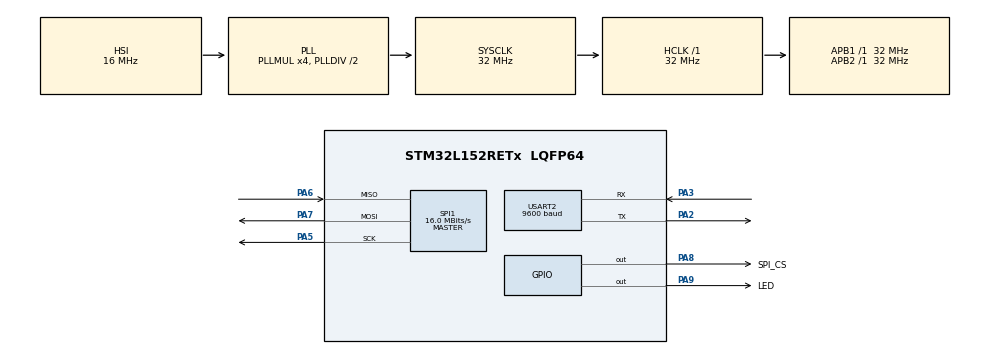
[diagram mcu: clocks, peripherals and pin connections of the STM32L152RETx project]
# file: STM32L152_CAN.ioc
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Mcu.Family=STM32L1
Mcu.Name=STM32L152RETx
Mcu.Package=LQFP64
NVIC.PriorityGroup=NVIC_PRIORITYGROUP_4
PA2.Mode=Asynchronous
PA2.Signal=USART2_TX
PA3.Mode=Asynchronous
PA3.Signal=USART2_RX
PA5.Mode=Full_Duplex_Master
PA5.Signal=SPI1_SCK
PA6.Mode=Full_Duplex_Master
PA6.Signal=SPI1_MISO
PA7.Mode=Full_Duplex_Master
PA7.Signal=SPI1_MOSI
PA8.GPIO_Label=SPI_CS
PA8.PinState=GPIO_PIN_SET
PA8.Signal=GPIO_Output
PA9.GPIO_Label=LED
PA9.Signal=GPIO_Output
PH0-OSC_IN.Mode=HSE-External-Oscillator
PH0-OSC_IN.Signal=RCC_OSC_IN
PH1-OSC_OUT.Mode=HSE-External-Oscillator
PH1-OSC_OUT.Signal=RCC_OSC_OUT
ProjectManager.HeapSize=0x200
ProjectManager.StackSize=0x400
ProjectManager.TargetToolchain=STM32CubeIDE
RCC.48MHZClocksFreq_Value=32000000
RCC.AHBFreq_Value=32000000
RCC.APB1Freq_Value=32000000
RCC.APB1TimFreq_Value=32000000
RCC.APB2Freq_Value=32000000
RCC.APB2TimFreq_Value=32000000
RCC.HCLKFreq_Value=32000000
RCC.HSE_VALUE=24000000
RCC.HSI_VALUE=16000000
RCC.LSE_VALUE=32768
RCC.MSI_VALUE=2097000
RCC.PLLMUL=RCC_PLL_MUL4
RCC.SYSCLKFreq_VALUE=32000000
RCC.SYSCLKSource=RCC_SYSCLKSOURCE_PLLCLK
RCC.VCOOutputFreq_Value=64000000
SPI1.CalculateBaudRate=16.0 MBits/s
SPI1.Direction=SPI_DIRECTION_2LINES
SPI1.Mode=SPI_MODE_MASTER
SPI1.VirtualType=VM_MASTER
USART2.BaudRate=9600
USART2.VirtualMode=VM_ASYNC
board=custom

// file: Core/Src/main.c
/* USER CODE BEGIN Header */
/**
  ******************************************************************************
  * @file           : main.c
  * @brief          : Main program body
  ******************************************************************************
  * @attention
  *
  * Copyright (c) 2024 STMicroelectronics.
  * All rights reserved.
  *
  * This software is licensed under terms that can be found in the LICENSE file
  * in the root directory of this software component.
  * If no LICENSE file comes with this software, it is provided AS-IS.
  *
  ******************************************************************************
  */
/* USER CODE END Header */
#include "main.h"

/* USER CODE BEGIN Includes */
#include <stdio.h>
#include "CAN_SPI.h"
#include <string.h>
/* USER CODE END Includes */

SPI_HandleTypeDef hspi1;

UART_HandleTypeDef huart2;

/* USER CODE BEGIN PV */
uCAN_MSG txMessage;
uCAN_MSG rxMessage;
/* USER CODE END PV */

void SystemClock_Config(void);
static void MX_GPIO_Init(void);
static void MX_SPI1_Init(void);
static void MX_USART2_UART_Init(void);

int main(void)
{

  /* MCU Configuration--------------------------------------------------------*/

  /* Reset of all peripherals, Initializes the Flash interface and the Systick. */
  HAL_Init();

  /* Configure the system clock */
  SystemClock_Config();

  /* Initialize all configured peripherals */
  MX_GPIO_Init();
  MX_SPI1_Init();
  MX_USART2_UART_Init();
  /* USER CODE BEGIN 2 */
  HAL_GPIO_WritePin(LED_GPIO_Port, LED_Pin, GPIO_PIN_RESET);
  int ret;
  ret = CANSPI_Initialize();
  if(ret < 0)
  {
	  HAL_GPIO_WritePin(LED_GPIO_Port, LED_Pin, GPIO_PIN_SET);
	  while(1){}
  }

  /* USER CODE END 2 */

  /* Infinite loop */
  while (1)
  {

    /* USER CODE BEGIN 3 */

		if (CANSPI_Receive(&rxMessage))
		{

			if (rxMessage.frame.id == 0x7E8)
			{
				if(rxMessage.frame.data0 == 03)
				{
					if (rxMessage.frame.data1 == 41)
					{
						if(rxMessage.frame.data2 == 0x0C)
						{
							char rpmString[16];
							uint16_t RPM = (((rxMessage.frame.data3) * 256) + (rxMessage.frame.data4)) / 4;
							snprintf(rpmString, sizeof(rpmString), "RPM:%d\r\n", RPM); // Convert RPM to string
							HAL_UART_Transmit(&huart2, (uint8_t*)rpmString, strlen(rpmString), HAL_MAX_DELAY);
						}

					}
				}
			}

			/* Debug Print vai UART2 */
			char frame[60]; // Make it large enough to hold the combined string
			int frame_length = sprintf(frame, "ID:%04X, DLC:%X, Data:", rxMessage.frame.id, rxMessage.frame.dlc);
			for (int i = 0; i < rxMessage.frame.dlc; i++) {
			    frame_length += sprintf(frame + frame_length, " %02X", *((uint8_t *)&rxMessage.frame.data0 + i));
			}
			frame_length += sprintf(frame + frame_length, "\r\n");
			HAL_UART_Transmit(&huart2, (uint8_t *)frame, frame_length, HAL_MAX_DELAY);
			HAL_Delay(50);
			/*-----------------------*/
			HAL_GPIO_WritePin(LED_GPIO_Port, LED_Pin, GPIO_PIN_SET);
			HAL_Delay(50);
			/* Transmit */
//			txMessage.frame.idType = rxMessage.frame.idType;
//			txMessage.frame.id = 0x0A;
//			txMessage.frame.dlc = 8;
//			txMessage.frame.data0 = 0;
//			txMessage.frame.data1 = 1;
//			txMessage.frame.data2 = 2;
//			txMessage.frame.data3 = 3;
//			txMessage.frame.data4 = 4;
//			txMessage.frame.data5 = 5;
//			txMessage.frame.data6 = 6;
//			txMessage.frame.data7 = 7;
//			CANSPI_Transmit(&txMessage);
			HAL_GPIO_WritePin(LED_GPIO_Port, LED_Pin, GPIO_PIN_RESET);
			HAL_Delay(100);
		}
  }
  /* USER CODE END 3 */
}

void SystemClock_Config(void)
{
  RCC_OscInitTypeDef RCC_OscInitStruct = {0};
  RCC_ClkInitTypeDef RCC_ClkInitStruct = {0};

  /** Configure the main internal regulator output voltage
  */
  __HAL_PWR_VOLTAGESCALING_CONFIG(PWR_REGULATOR_VOLTAGE_SCALE1);

  /** Initializes the RCC Oscillators according to the specified parameters
  * in the RCC_OscInitTypeDef structure.
  */
  RCC_OscInitStruct.OscillatorType = RCC_OSCILLATORTYPE_HSI;
  RCC_OscInitStruct.HSIState = RCC_HSI_ON;
  RCC_OscInitStruct.HSICalibrationValue = RCC_HSICALIBRATION_DEFAULT;
  RCC_OscInitStruct.PLL.PLLState = RCC_PLL_ON;
  RCC_OscInitStruct.PLL.PLLSource = RCC_PLLSOURCE_HSI;
  RCC_OscInitStruct.PLL.PLLMUL = RCC_PLL_MUL4;
  RCC_OscInitStruct.PLL.PLLDIV = RCC_PLL_DIV2;
  if (HAL_RCC_OscConfig(&RCC_OscInitStruct) != HAL_OK)
  {
    Error_Handler();
  }

  /** Initializes the CPU, AHB and APB buses clocks
  */
  RCC_ClkInitStruct.ClockType = RCC_CLOCKTYPE_HCLK|RCC_CLOCKTYPE_SYSCLK
                              |RCC_CLOCKTYPE_PCLK1|RCC_CLOCKTYPE_PCLK2;
  RCC_ClkInitStruct.SYSCLKSource = RCC_SYSCLKSOURCE_PLLCLK;
  RCC_ClkInitStruct.AHBCLKDivider = RCC_SYSCLK_DIV1;
  RCC_ClkInitStruct.APB1CLKDivider = RCC_HCLK_DIV1;
  RCC_ClkInitStruct.APB2CLKDivider = RCC_HCLK_DIV1;

  if (HAL_RCC_ClockConfig(&RCC_ClkInitStruct, FLASH_LATENCY_1) != HAL_OK)
  {
    Error_Handler();
  }
}

static void MX_SPI1_Init(void)
{

  /* SPI1 parameter configuration*/
  hspi1.Instance = SPI1;
  hspi1.Init.Mode = SPI_MODE_MASTER;
  hspi1.Init.Direction = SPI_DIRECTION_2LINES;
  hspi1.Init.DataSize = SPI_DATASIZE_8BIT;
  hspi1.Init.CLKPolarity = SPI_POLARITY_LOW;
  hspi1.Init.CLKPhase = SPI_PHASE_1EDGE;
  hspi1.Init.NSS = SPI_NSS_SOFT;
  hspi1.Init.BaudRatePrescaler = SPI_BAUDRATEPRESCALER_2;
  hspi1.Init.FirstBit = SPI_FIRSTBIT_MSB;
  hspi1.Init.TIMode = SPI_TIMODE_DISABLE;
  hspi1.Init.CRCCalculation = SPI_CRCCALCULATION_DISABLE;
  hspi1.Init.CRCPolynomial = 10;
  if (HAL_SPI_Init(&hspi1) != HAL_OK)
  {
    Error_Handler();
  }

}

static void MX_USART2_UART_Init(void)
{

  huart2.Instance = USART2;
  huart2.Init.BaudRate = 9600;
  huart2.Init.WordLength = UART_WORDLENGTH_8B;
  huart2.Init.StopBits = UART_STOPBITS_1;
  huart2.Init.Parity = UART_PARITY_NONE;
  huart2.Init.Mode = UART_MODE_TX_RX;
  huart2.Init.HwFlowCtl = UART_HWCONTROL_NONE;
  huart2.Init.OverSampling = UART_OVERSAMPLING_16;
  if (HAL_UART_Init(&huart2) != HAL_OK)
  {
    Error_Handler();
  }

}

static void MX_GPIO_Init(void)
{
  GPIO_InitTypeDef GPIO_InitStruct = {0};

  /* GPIO Ports Clock Enable */
  __HAL_RCC_GPIOH_CLK_ENABLE();
  __HAL_RCC_GPIOA_CLK_ENABLE();

  /*Configure GPIO pin Output Level */
  HAL_GPIO_WritePin(SPI_CS_GPIO_Port, SPI_CS_Pin, GPIO_PIN_SET);

  /*Configure GPIO pin Output Level */
  HAL_GPIO_WritePin(LED_GPIO_Port, LED_Pin, GPIO_PIN_RESET);

  /*Configure GPIO pins : SPI_CS_Pin LED_Pin */
  GPIO_InitStruct.Pin = SPI_CS_Pin|LED_Pin;
  GPIO_InitStruct.Mode = GPIO_MODE_OUTPUT_PP;
  GPIO_InitStruct.Pull = GPIO_NOPULL;
  GPIO_InitStruct.Speed = GPIO_SPEED_FREQ_LOW;
  HAL_GPIO_Init(GPIOA, &GPIO_InitStruct);

}

void Error_Handler(void)
{
  __disable_irq();
  while (1)
  {
  }
}
